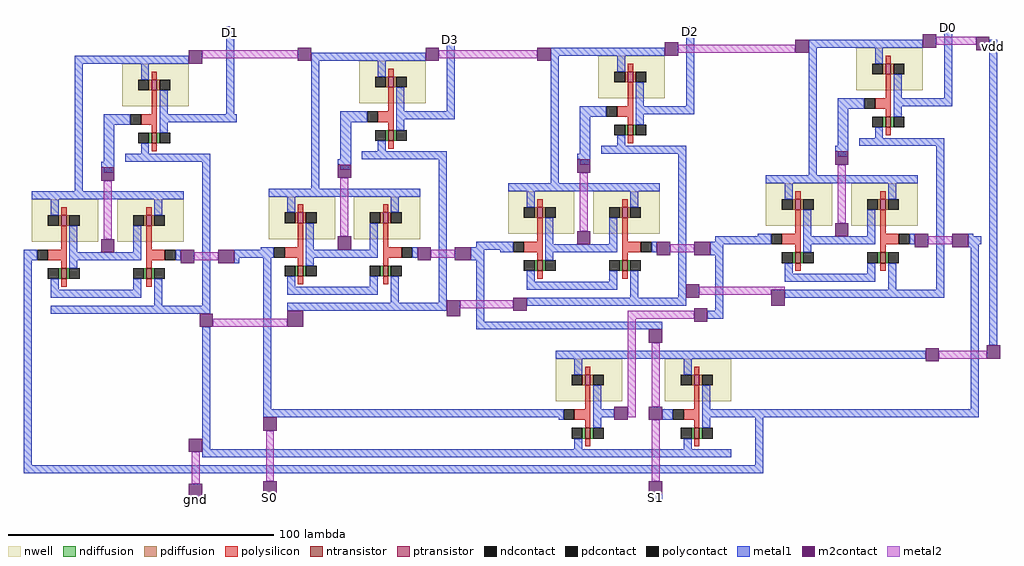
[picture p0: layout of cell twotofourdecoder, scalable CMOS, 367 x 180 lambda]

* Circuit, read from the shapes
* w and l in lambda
.subckt twotofourdecoder D0 D1 D2 D3 S0 S1 gnd vdd
M1 AND_3/not_0/in AND_3/in1 n1 VSUBS nfet w=4 l=2
M2 gnd S0 n1 VSUBS nfet w=4 l=2
M3 D1 AND_3/not_0/in gnd VSUBS nfet w=4 l=2
M4 AND_0/not_0/in S0 n2 VSUBS nfet w=4 l=2
M5 gnd S1 n2 VSUBS nfet w=4 l=2
M6 D3 AND_0/not_0/in gnd VSUBS nfet w=4 l=2
M7 AND_1/not_0/in S1 n3 VSUBS nfet w=4 l=2
M8 AND_2/in1 S0 gnd VSUBS nfet w=4 l=2
M9 gnd AND_2/in1 n3 VSUBS nfet w=4 l=2
M10 D2 AND_1/not_0/in gnd VSUBS nfet w=4 l=2
M11 AND_3/in1 S1 gnd VSUBS nfet w=4 l=2
M12 AND_2/not_0/in AND_2/in1 n4 VSUBS nfet w=4 l=2
M13 gnd AND_3/in1 n4 VSUBS nfet w=4 l=2
M14 D0 AND_2/not_0/in gnd VSUBS nfet w=4 l=2
M15 AND_3/not_0/in AND_3/in1 vdd n5 pfet w=4 l=2
M16 vdd S0 AND_3/not_0/in n6 pfet w=4 l=2
M17 D1 AND_3/not_0/in vdd n7 pfet w=4 l=2
M18 AND_0/not_0/in S0 vdd n8 pfet w=4 l=2
M19 vdd S1 AND_0/not_0/in n9 pfet w=4 l=2
M20 D3 AND_0/not_0/in vdd n10 pfet w=4 l=2
M21 AND_1/not_0/in S1 vdd n11 pfet w=4 l=2
M22 AND_2/in1 S0 vdd n12 pfet w=4 l=2
M23 vdd AND_2/in1 AND_1/not_0/in n13 pfet w=4 l=2
M24 D2 AND_1/not_0/in vdd n14 pfet w=4 l=2
M25 AND_3/in1 S1 vdd n15 pfet w=4 l=2
M26 AND_2/not_0/in AND_2/in1 vdd n16 pfet w=4 l=2
M27 vdd AND_3/in1 AND_2/not_0/in n17 pfet w=4 l=2
M28 D0 AND_2/not_0/in vdd n18 pfet w=4 l=2
.ends

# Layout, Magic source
magic
tech scmos
<< metal1 >>
rect -119 132 -116 165
rect -36 133 -33 161
rect 54 135 57 165
rect 151 138 154 166
rect 142 135 154 138
rect -133 129 -115 132
rect -44 130 -33 133
rect 46 132 57 135
rect -25 81 -16 84
rect 65 83 81 86
rect 162 83 165 86
rect -114 78 -106 81
rect -195 0 -192 77
rect -128 6 -125 52
rect -105 21 -102 78
rect -25 54 -22 81
rect 65 58 68 83
rect 62 55 68 58
rect -25 51 45 54
rect 30 40 46 43
rect 71 40 144 43
rect -105 18 6 21
rect 161 21 164 83
rect 168 45 171 160
rect 45 17 47 21
rect 63 18 164 21
rect -128 3 6 6
rect 30 3 47 6
rect 80 0 83 18
rect -195 -3 83 0
rect -133 -14 -128 -12
rect -105 -13 -100 -11
rect 40 -13 45 -11
<< m2contact >>
rect -133 151 -128 156
rect -92 152 -87 157
rect -44 152 -39 157
rect -2 152 3 157
rect 46 154 51 159
rect 95 155 100 160
rect 143 157 148 162
rect 163 156 168 161
rect -129 52 -124 57
rect -133 5 -128 10
rect -96 52 -90 58
rect -36 56 -31 62
rect 54 63 59 68
rect -11 58 -6 63
rect 57 54 62 59
rect 86 60 91 66
rect 40 46 45 51
rect 144 39 149 44
rect -105 13 -100 18
rect 27 17 32 22
rect 40 17 45 22
rect 167 40 172 45
rect -133 -12 -128 -7
rect -105 -11 -100 -6
rect 40 -11 45 -6
<< metal2 >>
rect -128 153 -92 156
rect -39 153 -2 156
rect 51 155 95 158
rect 148 158 163 161
rect 59 66 91 67
rect 59 64 86 66
rect -124 52 -96 55
rect -31 59 -11 62
rect 32 55 57 58
rect 32 18 35 55
rect 41 22 44 46
rect 149 40 167 43
rect -132 -7 -129 5
rect -104 -6 -101 13
rect 41 -6 44 17
use AND  AND_3
transform 1 0 -191 0 1 56
box -4 1 77 98
use AND  AND_2
transform 1 0 85 0 1 62
box -4 1 77 98
use AND  AND_1
transform 1 0 -12 0 1 59
box -4 1 77 98
use AND  AND_0
transform 1 0 -102 0 1 57
box -4 1 77 98
use not  not_1
transform 1 0 46 0 1 24
box 0 -21 25 19
use not  not_0
transform 1 0 5 0 1 24
box 0 -21 25 19
<< labels >>
rlabel metal1 -133 -14 -128 -12 1 gnd
rlabel metal1 -105 -13 -100 -11 1 S0
rlabel metal1 168 155 171 160 7 vdd
rlabel metal1 40 -13 45 -11 1 S1
rlabel metal1 -119 160 -116 165 5 D1
rlabel metal1 -36 159 -33 161 1 D3
rlabel metal1 54 161 57 165 5 D2
rlabel metal1 151 163 154 166 5 D0
<< end >>

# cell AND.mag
magic
tech scmos
<< metal1 >>
rect 15 95 33 98
rect 15 47 18 95
rect 26 72 34 76
rect 55 73 58 76
rect 26 58 30 72
rect 58 58 66 61
rect 26 54 30 56
rect -4 21 -2 25
rect 63 4 66 58
rect 75 20 77 25
rect 48 1 66 4
<< m2contact >>
rect 55 20 60 25
rect 69 20 75 25
<< metal2 >>
rect 60 21 69 24
use NAND  NAND_0
transform 1 0 -1 0 1 28
box -1 -27 57 30
use not  not_0
transform 1 0 33 0 1 79
box 0 -21 25 19
<< labels >>
rlabel metal1 55 73 58 76 1 out
rlabel metal1 -4 21 -2 25 3 in1
rlabel metal1 75 20 77 25 7 in2
rlabel metal1 48 1 66 4 1 gnd
rlabel metal1 15 95 20 98 5 vdd
<< end >>

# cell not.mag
magic
tech scmos
<< nwell >>
rect 0 0 25 16
<< ntransistor >>
rect 11 -14 13 -10
<< ptransistor >>
rect 11 6 13 10
<< ndiffusion >>
rect 10 -14 11 -10
rect 13 -14 14 -10
<< pdiffusion >>
rect 10 6 11 10
rect 13 6 14 10
<< ndcontact >>
rect 6 -14 10 -10
rect 14 -14 18 -10
<< pdcontact >>
rect 6 6 10 10
rect 14 6 18 10
<< polysilicon >>
rect 11 10 13 13
rect 11 -3 13 6
rect 7 -7 13 -3
rect 11 -10 13 -7
rect 11 -17 13 -14
<< polycontact >>
rect 3 -7 7 -3
<< metal1 >>
rect 0 16 25 19
rect 7 10 10 16
rect 14 -3 17 6
rect 1 -7 3 -3
rect 14 -6 22 -3
rect 14 -10 17 -6
rect 7 -18 10 -14
rect 1 -21 25 -18
<< labels >>
rlabel metal1 0 16 25 19 5 vdd
rlabel metal1 17 -6 22 -3 1 out
rlabel metal1 1 -7 3 -3 3 in
rlabel metal1 1 -21 25 -18 1 gnd
<< end >>

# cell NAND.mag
magic
tech scmos
<< nwell >>
rect 0 0 25 16
rect 32 0 57 16
<< ntransistor >>
rect 11 -14 13 -10
rect 43 -14 45 -10
<< ptransistor >>
rect 11 6 13 10
rect 43 6 45 10
<< ndiffusion >>
rect 10 -14 11 -10
rect 13 -14 14 -10
rect 42 -14 43 -10
rect 45 -14 46 -10
<< pdiffusion >>
rect 10 6 11 10
rect 13 6 14 10
rect 42 6 43 10
rect 45 6 46 10
<< ndcontact >>
rect 6 -14 10 -10
rect 14 -14 18 -10
rect 38 -14 42 -10
rect 46 -14 50 -10
<< pdcontact >>
rect 6 6 10 10
rect 14 6 18 10
rect 38 6 42 10
rect 46 6 50 10
<< polysilicon >>
rect 11 10 13 13
rect 43 10 45 13
rect 11 -3 13 6
rect 6 -7 13 -3
rect 11 -10 13 -7
rect 43 -3 45 6
rect 43 -7 50 -3
rect 43 -10 45 -7
rect 11 -17 13 -14
rect 43 -17 45 -14
<< polycontact >>
rect 2 -7 6 -3
rect 50 -7 54 -3
<< metal1 >>
rect 26 28 31 30
rect 0 16 57 19
rect 7 10 10 16
rect 46 10 49 16
rect -1 -7 2 -3
rect 14 -4 17 6
rect 38 -4 41 6
rect 14 -7 41 -4
rect 54 -7 56 -3
rect 14 -10 17 -7
rect 7 -18 10 -14
rect 38 -18 41 -14
rect 7 -21 41 -18
rect 46 -24 49 -14
rect 7 -27 49 -24
<< m2contact >>
rect 26 23 31 28
rect 26 -4 31 1
<< metal2 >>
rect 27 1 30 23
<< labels >>
rlabel metal1 0 16 57 19 5 vdd
rlabel metal1 0 -7 2 -3 3 in1
rlabel metal1 54 -7 56 -3 7 in2
rlabel metal1 26 28 31 30 5 out
rlabel metal1 7 -27 49 -24 1 gnd
<< end >>
